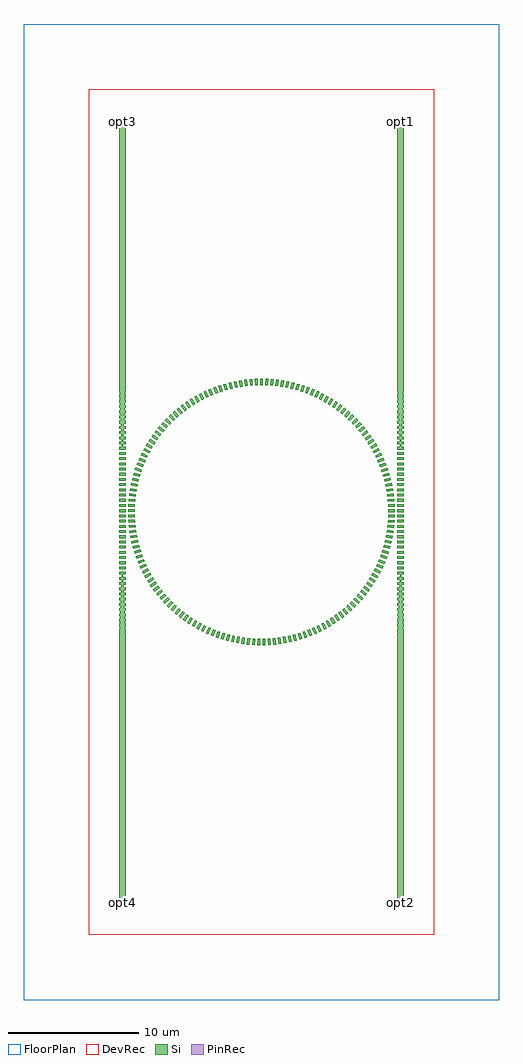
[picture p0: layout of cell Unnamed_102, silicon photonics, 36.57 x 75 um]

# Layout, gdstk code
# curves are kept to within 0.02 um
import gdstk
lib = gdstk.Library(unit=1e-6, precision=1e-09)
def R(c, l, rs):  # rectangles x0, y0, x1, y1
    for r in rs: c.add(gdstk.rectangle(r[:2], r[2:], *l))
def A(c, l, x, y, w, h, nx, ny, dx, dy):  # array of equal rectangles
    R(c, l, [(x+i*dx, y+j*dy, x+i*dx+w, y+j*dy+h) for i in range(nx) for j in range(ny)])
def P(c, l, *ps):  # polygons
    for p in ps: c.add(gdstk.Polygon(p, *l))
Si = (1, 0)
PinRec = (1, 10)
DevRec = (68, 0)
FloorPlan = (99, 0)

unnamed_102 = lib.new_cell('Unnamed_102')
A(unnamed_102, Si, -10.936, -4.4, 0.5, 0.2, 1, 23, 0, 0.4)
A(unnamed_102, Si, 10.436, -4.4, 0.5, 0.2, 1, 23, 0, 0.4)
P(unnamed_102, Si, [(-0.095,9.744),(-0.1,10.244),(0.105,10.244),(0.1,9.744)],
  [(9.745,0),(9.743,0.195),(10.243,0.205),(10.245,0)],
  [(9.737,0.39),(9.727,0.585),(10.226,0.615),(10.237,0.41)],
  [(9.714,0.779),(9.696,0.973),(10.194,1.023),(10.212,0.819)],
  [(9.675,1.167),(9.65,1.36),(10.145,1.43),(10.171,1.227)],
  [(9.62,1.553),(9.587,1.745),(10.079,1.835),(10.114,1.633)],
  [(9.551,1.937),(9.51,2.127),(9.998,2.237),(10.041,2.036)],
  [(9.465,2.317),(9.417,2.506),(9.9,2.635),(9.951,2.436)],
  [(9.365,2.694),(9.309,2.881),(9.787,3.029),(9.846,2.832)],
  [(9.25,3.067),(9.187,3.251),(9.658,3.418),(9.724,3.224)],
  [(9.12,3.434),(9.049,3.616),(9.514,3.801),(9.588,3.61)],
  [(8.975,3.796),(8.897,3.975),(9.354,4.179),(9.436,3.991)],
  [(8.816,4.152),(8.731,4.328),(9.179,4.55),(9.268,4.365)],
  [(8.643,4.502),(8.551,4.674),(8.99,4.913),(9.086,4.733)],
  [(8.456,4.844),(8.357,5.012),(8.786,5.269),(8.89,5.092)],
  [(8.255,5.178),(8.15,5.342),(8.568,5.616),(8.679,5.444)],
  [(8.042,5.504),(7.93,5.664),(8.337,5.955),(8.454,5.787)],
  [(7.815,5.821),(7.697,5.977),(8.092,6.283),(8.216,6.12)],
  [(7.576,6.129),(7.452,6.28),(7.834,6.602),(7.965,6.444)],
  [(7.325,6.428),(7.195,6.573),(7.564,6.91),(7.7,6.757)],
  [(7.062,6.715),(6.926,6.855),(7.281,7.207),(7.424,7.06)],
  [(6.787,6.993),(6.646,7.127),(6.987,7.493),(7.136,7.351)],
  [(6.502,7.259),(6.356,7.387),(6.682,7.766),(6.836,7.631)],
  [(6.207,7.513),(6.055,7.636),(6.366,8.027),(6.525,7.898)],
  [(5.901,7.755),(5.745,7.872),(6.039,8.275),(6.204,8.153)],
  [(5.586,7.985),(5.425,8.095),(5.704,8.51),(5.873,8.395)],
  [(5.262,8.202),(5.097,8.306),(5.359,8.732),(5.532,8.623)],
  [(4.93,8.406),(4.761,8.503),(5.005,8.939),(5.183,8.837)],
  [(4.59,8.596),(4.417,8.687),(4.643,9.132),(4.825,9.038)],
  [(4.242,8.773),(4.066,8.856),(4.274,9.311),(4.46,9.223)],
  [(3.888,8.936),(3.708,9.012),(3.898,9.474),(4.087,9.394)],
  [(3.527,9.084),(3.345,9.153),(3.516,9.623),(3.708,9.55)],
  [(3.161,9.218),(2.976,9.279),(3.128,9.756),(3.323,9.691)],
  [(2.79,9.337),(2.602,9.391),(2.736,9.873),(2.933,9.816)],
  [(2.414,9.441),(2.224,9.488),(2.339,9.974),(2.538,9.926)],
  [(2.034,9.53),(1.843,9.569),(1.938,10.06),(2.139,10.019)],
  [(1.651,9.604),(1.459,9.635),(1.534,10.129),(1.736,10.097)],
  [(1.266,9.662),(1.072,9.686),(1.127,10.183),(1.331,10.158)],
  [(0.878,9.705),(0.684,9.721),(0.719,10.22),(0.923,10.203)],
  [(0.489,9.733),(0.294,9.74),(0.31,10.24),(0.514,10.232)],
  [(10.436,4.8),(10.436,5),(10.647,5),(10.638,5.2),(10.436,5.2),(10.436,5.4),(10.63,5.4),(10.621,5.6),(10.436,5.6),(10.436,5.8),(10.612,5.8),(10.603,6),(10.436,6),(10.436,6.2),(10.594,6.2),(10.586,6.4),(10.436,6.4),(10.436,6.6),(10.577,6.6),(10.568,6.8),(10.436,6.8),(10.436,7),(10.559,7),(10.55,7.2),(10.436,7.2),(10.436,7.4),(10.542,7.4),(10.533,7.6),(10.436,7.6),(10.436,7.8),(10.524,7.8),(10.515,8),(10.436,8),(10.436,8.2),(10.506,8.2),(10.498,8.4),(10.436,8.4),(10.436,8.6),(10.489,8.6),(10.48,8.8),(10.436,8.8),(10.436,9),(10.471,9),(10.462,9.2),(10.436,9.2),(10.436,30),(10.936,30),(10.936,9.2),(10.91,9.2),(10.901,9),(10.936,9),(10.936,8.8),(10.892,8.8),(10.883,8.6),(10.936,8.6),(10.936,8.4),(10.874,8.4),(10.866,8.2),(10.936,8.2),(10.936,8),(10.857,8),(10.848,7.8),(10.936,7.8),(10.936,7.6),(10.839,7.6),(10.83,7.4),(10.936,7.4),(10.936,7.2),(10.822,7.2),(10.813,7),(10.936,7),(10.936,6.8),(10.804,6.8),(10.795,6.6),(10.936,6.6),(10.936,6.4),(10.786,6.4),(10.778,6.2),(10.936,6.2),(10.936,6),(10.769,6),(10.76,5.8),(10.936,5.8),(10.936,5.6),(10.751,5.6),(10.742,5.4),(10.936,5.4),(10.936,5.2),(10.734,5.2),(10.725,5),(10.936,5),(10.936,4.8)],
  [(-8.253,5.182),(-8.677,5.447),(-8.566,5.62),(-8.148,5.346)],
  [(-9.464,2.321),(-9.95,2.44),(-9.899,2.639),(-9.416,2.51)],
  [(-8.039,5.508),(-8.452,5.79),(-8.334,5.958),(-7.928,5.667)],
  [(-7.813,5.825),(-8.213,6.124),(-8.089,6.287),(-7.694,5.98)],
  [(-9.737,0.394),(-10.237,0.414),(-10.226,0.619),(-9.727,0.589)],
  [(-7.573,6.133),(-7.962,6.447),(-7.831,6.605),(-7.449,6.283)],
  [(-9.674,1.171),(-10.171,1.231),(-10.144,1.434),(-9.649,1.364)],
  [(-7.322,6.431),(-7.698,6.761),(-7.561,6.913),(-7.192,6.576)],
  [(-9.364,2.698),(-9.844,2.836),(-9.786,3.033),(-9.308,2.885)],
  [(-7.059,6.718),(-7.421,7.063),(-7.278,7.21),(-6.923,6.858)],
  [(-6.784,6.995),(-7.132,7.354),(-6.984,7.496),(-6.643,7.13)],
  [(-6.499,7.261),(-6.833,7.634),(-6.678,7.769),(-6.352,7.39)],
  [(-6.203,7.515),(-6.522,7.901),(-6.362,8.03),(-6.052,7.638)],
  [(-9.249,3.07),(-9.723,3.228),(-9.657,3.422),(-9.185,3.255)],
  [(-5.898,7.758),(-6.2,8.156),(-6.036,8.278),(-5.741,7.874)],
  [(-5.583,7.987),(-5.869,8.397),(-5.7,8.513),(-5.422,8.097)],
  [(-5.259,8.204),(-5.529,8.625),(-5.355,8.734),(-5.094,8.308)],
  [(-9.62,1.557),(-10.113,1.637),(-10.079,1.839),(-9.587,1.749)],
  [(-4.926,8.408),(-5.179,8.839),(-5.001,8.941),(-4.757,8.505)],
  [(-9.118,3.438),(-9.586,3.614),(-9.512,3.805),(-9.048,3.62)],
  [(-4.586,8.598),(-4.821,9.04),(-4.639,9.134),(-4.413,8.688)],
  [(-4.238,8.775),(-4.456,9.225),(-4.27,9.312),(-4.062,8.858)],
  [(-8.974,3.8),(-9.434,3.995),(-9.352,4.183),(-8.896,3.979)],
  [(-3.884,8.937),(-4.083,9.396),(-3.894,9.476),(-3.704,9.013)],
  [(-3.523,9.086),(-3.704,9.552),(-3.512,9.624),(-3.341,9.154)],
  [(-3.157,9.219),(-3.319,9.692),(-3.124,9.757),(-2.972,9.281)],
  [(-9.713,0.783),(-10.212,0.823),(-10.193,1.027),(-9.696,0.977)],
  [(-2.786,9.338),(-2.929,9.817),(-2.732,9.874),(-2.598,9.392)],
  [(-8.814,4.156),(-9.267,4.369),(-9.177,4.554),(-8.729,4.331)],
  [(-2.41,9.442),(-2.533,9.927),(-2.334,9.975),(-2.22,9.489)],
  [(-2.03,9.531),(-2.134,10.02),(-1.933,10.061),(-1.839,9.57)],
  [(-9.55,1.941),(-10.04,2.04),(-9.997,2.241),(-9.509,2.131)],
  [(-1.647,9.605),(-1.732,10.098),(-1.529,10.13),(-1.455,9.636)],
  [(-1.262,9.663),(-1.326,10.159),(-1.123,10.183),(-1.068,9.686)],
  [(-0.874,9.706),(-0.919,10.204),(-0.715,10.22),(-0.68,9.721)],
  [(-8.641,4.505),(-9.084,4.736),(-8.988,4.917),(-8.549,4.677)],
  [(-0.485,9.733),(-0.51,10.232),(-0.305,10.24),(-0.29,9.741)],
  [(-8.454,4.847),(-8.888,5.096),(-8.784,5.273),(-8.355,5.015)],
  [(-10.936,4.8),(-10.936,5),(-10.725,5),(-10.734,5.2),(-10.936,5.2),(-10.936,5.4),(-10.742,5.4),(-10.751,5.6),(-10.936,5.6),(-10.936,5.8),(-10.76,5.8),(-10.769,6),(-10.936,6),(-10.936,6.2),(-10.778,6.2),(-10.786,6.4),(-10.936,6.4),(-10.936,6.6),(-10.795,6.6),(-10.804,6.8),(-10.936,6.8),(-10.936,7),(-10.813,7),(-10.822,7.2),(-10.936,7.2),(-10.936,7.4),(-10.83,7.4),(-10.839,7.6),(-10.936,7.6),(-10.936,7.8),(-10.848,7.8),(-10.857,8),(-10.936,8),(-10.936,8.2),(-10.866,8.2),(-10.874,8.4),(-10.936,8.4),(-10.936,8.6),(-10.883,8.6),(-10.892,8.8),(-10.936,8.8),(-10.936,9),(-10.901,9),(-10.91,9.2),(-10.936,9.2),(-10.936,30),(-10.436,30),(-10.436,9.2),(-10.462,9.2),(-10.471,9),(-10.436,9),(-10.436,8.8),(-10.48,8.8),(-10.489,8.6),(-10.436,8.6),(-10.436,8.4),(-10.498,8.4),(-10.506,8.2),(-10.436,8.2),(-10.436,8),(-10.515,8),(-10.524,7.8),(-10.436,7.8),(-10.436,7.6),(-10.533,7.6),(-10.542,7.4),(-10.436,7.4),(-10.436,7.2),(-10.55,7.2),(-10.559,7),(-10.436,7),(-10.436,6.8),(-10.568,6.8),(-10.577,6.6),(-10.436,6.6),(-10.436,6.4),(-10.586,6.4),(-10.594,6.2),(-10.436,6.2),(-10.436,6),(-10.603,6),(-10.612,5.8),(-10.436,5.8),(-10.436,5.6),(-10.621,5.6),(-10.63,5.4),(-10.436,5.4),(-10.436,5.2),(-10.638,5.2),(-10.647,5),(-10.436,5),(-10.436,4.8)],
  [(-10.245,0.004),(-10.243,0.209),(-9.743,0.199),(-9.745,0.004)],
  [(-1.335,-10.158),(-1.538,-10.129),(-1.463,-9.635),(-1.27,-9.662)],
  [(-1.74,-10.096),(-1.942,-10.059),(-1.847,-9.568),(-1.655,-9.603)],
  [(-2.143,-10.018),(-2.343,-9.973),(-2.228,-9.487),(-2.038,-9.529)],
  [(-2.542,-9.925),(-2.74,-9.872),(-2.606,-9.39),(-2.418,-9.44)],
  [(-2.937,-9.815),(-3.133,-9.754),(-2.98,-9.278),(-2.793,-9.336)],
  [(-3.327,-9.69),(-3.52,-9.621),(-3.348,-9.152),(-3.165,-9.217)],
  [(-3.712,-9.549),(-3.902,-9.473),(-3.712,-9.01),(-3.531,-9.083)],
  [(-4.091,-9.393),(-4.278,-9.309),(-4.069,-8.855),(-3.891,-8.934)],
  [(-4.464,-9.221),(-4.647,-9.13),(-4.42,-8.685),(-4.246,-8.771)],
  [(-4.829,-9.036),(-5.009,-8.937),(-4.764,-8.501),(-4.593,-8.595)],
  [(-5.186,-8.835),(-5.362,-8.73),(-5.1,-8.304),(-4.933,-8.404)],
  [(-5.536,-8.621),(-5.707,-8.508),(-5.429,-8.093),(-5.266,-8.2)],
  [(-5.876,-8.392),(-6.043,-8.273),(-5.748,-7.869),(-5.589,-7.983)],
  [(-6.207,-8.15),(-6.369,-8.025),(-6.058,-7.633),(-5.904,-7.753)],
  [(-6.528,-7.896),(-6.685,-7.763),(-6.359,-7.385),(-6.21,-7.51)],
  [(-6.839,-7.628),(-6.99,-7.49),(-6.649,-7.124),(-6.505,-7.256)],
  [(-7.139,-7.348),(-7.284,-7.204),(-6.929,-6.853),(-6.79,-6.99)],
  [(-7.427,-7.057),(-7.567,-6.907),(-7.197,-6.57),(-7.064,-6.713)],
  [(-7.703,-6.754),(-7.837,-6.599),(-7.454,-6.277),(-7.327,-6.425)],
  [(-7.967,-6.441),(-8.094,-6.28),(-7.699,-5.973),(-7.578,-6.126)],
  [(-8.219,-6.117),(-8.339,-5.951),(-7.932,-5.661),(-7.817,-5.818)],
  [(-8.457,-5.783),(-8.571,-5.613),(-8.152,-5.339),(-8.044,-5.501)],
  [(-8.681,-5.44),(-8.788,-5.265),(-8.359,-5.008),(-8.258,-5.175)],
  [(-8.892,-5.089),(-8.992,-4.91),(-8.553,-4.67),(-8.458,-4.84)],
  [(-10.936,-30),(-10.936,-9),(-10.91,-9),(-10.901,-8.8),(-10.936,-8.8),(-10.936,-8.6),(-10.892,-8.6),(-10.883,-8.4),(-10.936,-8.4),(-10.936,-8.2),(-10.874,-8.2),(-10.866,-8),(-10.936,-8),(-10.936,-7.8),(-10.857,-7.8),(-10.848,-7.6),(-10.936,-7.6),(-10.936,-7.4),(-10.839,-7.4),(-10.83,-7.2),(-10.936,-7.2),(-10.936,-7),(-10.822,-7),(-10.813,-6.8),(-10.936,-6.8),(-10.936,-6.6),(-10.804,-6.6),(-10.795,-6.4),(-10.936,-6.4),(-10.936,-6.2),(-10.786,-6.2),(-10.778,-6),(-10.936,-6),(-10.936,-5.8),(-10.769,-5.8),(-10.76,-5.6),(-10.936,-5.6),(-10.936,-5.4),(-10.751,-5.4),(-10.742,-5.2),(-10.936,-5.2),(-10.936,-5),(-10.734,-5),(-10.725,-4.8),(-10.936,-4.8),(-10.936,-4.6),(-10.436,-4.6),(-10.436,-4.8),(-10.647,-4.8),(-10.638,-5),(-10.436,-5),(-10.436,-5.2),(-10.63,-5.2),(-10.621,-5.4),(-10.436,-5.4),(-10.436,-5.6),(-10.612,-5.6),(-10.603,-5.8),(-10.436,-5.8),(-10.436,-6),(-10.594,-6),(-10.586,-6.2),(-10.436,-6.2),(-10.436,-6.4),(-10.577,-6.4),(-10.568,-6.6),(-10.436,-6.6),(-10.436,-6.8),(-10.559,-6.8),(-10.55,-7),(-10.436,-7),(-10.436,-7.2),(-10.542,-7.2),(-10.533,-7.4),(-10.436,-7.4),(-10.436,-7.6),(-10.524,-7.6),(-10.515,-7.8),(-10.436,-7.8),(-10.436,-8),(-10.506,-8),(-10.498,-8.2),(-10.436,-8.2),(-10.436,-8.4),(-10.489,-8.4),(-10.48,-8.6),(-10.436,-8.6),(-10.436,-8.8),(-10.471,-8.8),(-10.462,-9),(-10.436,-9),(-10.436,-30)],
  [(-9.088,-4.729),(-9.181,-4.546),(-8.733,-4.324),(-8.645,-4.498)],
  [(-9.27,-4.361),(-9.356,-4.175),(-8.899,-3.971),(-8.818,-4.149)],
  [(-9.437,-3.987),(-9.515,-3.797),(-9.051,-3.612),(-8.977,-3.792)],
  [(-9.589,-3.606),(-9.659,-3.414),(-9.188,-3.247),(-9.121,-3.43)],
  [(-9.726,-3.22),(-9.788,-3.025),(-9.311,-2.877),(-9.251,-3.063)],
  [(-9.847,-2.828),(-9.901,-2.631),(-9.418,-2.502),(-9.366,-2.69)],
  [(-9.952,-2.432),(-9.999,-2.232),(-9.511,-2.123),(-9.466,-2.313)],
  [(-10.041,-2.032),(-10.08,-1.831),(-9.588,-1.741),(-9.551,-1.933)],
  [(-10.115,-1.629),(-10.145,-1.426),(-9.65,-1.356),(-9.621,-1.549)],
  [(-10.172,-1.223),(-10.194,-1.019),(-9.697,-0.969),(-9.675,-1.163)],
  [(-10.212,-0.815),(-10.227,-0.61),(-9.728,-0.58),(-9.714,-0.775)],
  [(-10.237,-0.406),(-10.243,-0.201),(-9.743,-0.191),(-9.737,-0.386)],
  [(-0.109,-10.244),(-0.314,-10.24),(-0.299,-9.74),(-0.104,-9.744)],
  [(-0.519,-10.232),(-0.723,-10.219),(-0.688,-9.721),(-0.493,-9.732)],
  [(-0.928,-10.203),(-1.131,-10.182),(-1.076,-9.685),(-0.882,-9.705)],
  [(1.322,-10.159),(1.258,-9.663),(1.451,-9.636),(1.525,-10.131)],
  [(10.436,-30),(10.436,-9),(10.462,-9),(10.471,-8.8),(10.436,-8.8),(10.436,-8.6),(10.48,-8.6),(10.489,-8.4),(10.436,-8.4),(10.436,-8.2),(10.498,-8.2),(10.506,-8),(10.436,-8),(10.436,-7.8),(10.515,-7.8),(10.524,-7.6),(10.436,-7.6),(10.436,-7.4),(10.533,-7.4),(10.542,-7.2),(10.436,-7.2),(10.436,-7),(10.55,-7),(10.559,-6.8),(10.436,-6.8),(10.436,-6.6),(10.568,-6.6),(10.577,-6.4),(10.436,-6.4),(10.436,-6.2),(10.586,-6.2),(10.594,-6),(10.436,-6),(10.436,-5.8),(10.603,-5.8),(10.612,-5.6),(10.436,-5.6),(10.436,-5.4),(10.621,-5.4),(10.63,-5.2),(10.436,-5.2),(10.436,-5),(10.638,-5),(10.647,-4.8),(10.436,-4.8),(10.436,-4.6),(10.936,-4.6),(10.936,-4.8),(10.725,-4.8),(10.734,-5),(10.936,-5),(10.936,-5.2),(10.742,-5.2),(10.751,-5.4),(10.936,-5.4),(10.936,-5.6),(10.76,-5.6),(10.769,-5.8),(10.936,-5.8),(10.936,-6),(10.778,-6),(10.786,-6.2),(10.936,-6.2),(10.936,-6.4),(10.795,-6.4),(10.804,-6.6),(10.936,-6.6),(10.936,-6.8),(10.813,-6.8),(10.822,-7),(10.936,-7),(10.936,-7.2),(10.83,-7.2),(10.839,-7.4),(10.936,-7.4),(10.936,-7.6),(10.848,-7.6),(10.857,-7.8),(10.936,-7.8),(10.936,-8),(10.866,-8),(10.874,-8.2),(10.936,-8.2),(10.936,-8.4),(10.883,-8.4),(10.892,-8.6),(10.936,-8.6),(10.936,-8.8),(10.901,-8.8),(10.91,-9),(10.936,-9),(10.936,-30)],
  [(9.082,-4.74),(8.639,-4.509),(8.728,-4.335),(9.175,-4.557)],
  [(5.525,-8.628),(5.255,-8.206),(5.418,-8.1),(5.696,-8.515)],
  [(2.924,-9.819),(2.782,-9.339),(2.968,-9.282),(3.12,-9.758)],
  [(9.265,-4.373),(8.813,-4.16),(8.894,-3.982),(9.35,-4.187)],
  [(5.866,-8.4),(5.579,-7.99),(5.738,-7.876),(6.032,-8.281)],
  [(0.506,-10.232),(0.481,-9.733),(0.676,-9.721),(0.71,-10.22)],
  [(9.432,-3.999),(8.972,-3.804),(9.046,-3.623),(9.51,-3.809)],
  [(6.197,-8.158),(5.895,-7.76),(6.049,-7.641),(6.359,-8.033)],
  [(3.315,-9.694),(3.153,-9.221),(3.337,-9.156),(3.508,-9.626)],
  [(9.585,-3.618),(9.117,-3.442),(9.184,-3.259),(9.655,-3.426)],
  [(6.518,-7.904),(6.2,-7.518),(6.349,-7.392),(6.675,-7.772)],
  [(1.728,-10.098),(1.643,-9.605),(1.835,-9.571),(1.929,-10.062)],
  [(9.722,-3.232),(9.247,-3.074),(9.307,-2.889),(9.784,-3.037)],
  [(6.829,-7.637),(6.496,-7.264),(6.64,-7.133),(6.981,-7.499)],
  [(3.7,-9.553),(3.519,-9.087),(3.701,-9.015),(3.89,-9.478)],
  [(9.843,-2.841),(9.363,-2.702),(9.415,-2.514),(9.898,-2.643)],
  [(7.129,-7.357),(6.781,-6.998),(6.92,-6.861),(7.275,-7.213)],
  [(0.915,-10.204),(0.87,-9.706),(1.064,-9.687),(1.119,-10.184)],
  [(9.949,-2.444),(9.463,-2.325),(9.508,-2.135),(9.996,-2.245)],
  [(7.418,-7.066),(7.056,-6.721),(7.189,-6.579),(7.558,-6.916)],
  [(4.079,-9.398),(3.88,-8.939),(4.058,-8.86),(4.266,-9.314)],
  [(10.039,-2.045),(9.549,-1.945),(9.586,-1.753),(10.078,-1.843)],
  [(7.695,-6.764),(7.319,-6.434),(7.446,-6.286),(7.828,-6.609)],
  [(2.13,-10.021),(2.026,-9.532),(2.216,-9.49),(2.33,-9.976)],
  [(10.113,-1.641),(9.619,-1.561),(9.648,-1.368),(10.143,-1.439)],
  [(7.959,-6.451),(7.571,-6.136),(7.692,-5.983),(8.087,-6.29)],
  [(4.452,-9.227),(4.235,-8.777),(4.409,-8.69),(4.636,-9.136)],
  [(10.17,-1.235),(9.674,-1.175),(9.695,-0.981),(10.193,-1.032)],
  [(8.211,-6.127),(7.81,-5.828),(7.925,-5.671),(8.332,-5.962)],
  [(0.096,-10.244),(0.091,-9.745),(0.286,-9.741),(0.301,-10.241)],
  [(10.211,-0.828),(9.713,-0.787),(9.727,-0.593),(10.226,-0.623)],
  [(8.449,-5.794),(8.037,-5.511),(8.146,-5.349),(8.564,-5.624)],
  [(10.236,-0.418),(9.737,-0.398),(9.743,-0.203),(10.243,-0.214)],
  [(4.818,-9.042),(4.582,-8.6),(4.754,-8.507),(4.997,-8.943)],
  [(8.674,-5.451),(8.251,-5.185),(8.353,-5.019),(8.782,-5.276)],
  [(2.529,-9.928),(2.406,-9.443),(2.594,-9.393),(2.727,-9.875)],
  [(8.885,-5.1),(8.452,-4.851),(8.547,-4.681),(8.986,-4.921)],
  [(5.175,-8.842),(4.923,-8.41),(5.09,-8.31),(5.351,-8.736)])
R(unnamed_102, PinRec, [(-10.936,-30,-10.436,-29.9), (10.436,-30,10.936,-29.9), (-10.936,29.9,-10.436,30), (10.436,29.9,10.936,30)])
R(unnamed_102, DevRec, [(-13.286,-32.5,13.286,32.5)])
R(unnamed_102, FloorPlan, [(-18.286,-37.5,18.286,37.5)])
unnamed_102.add(gdstk.Label('opt1', (10.686,30), layer=10, texttype=0))
unnamed_102.add(gdstk.Label('opt2', (10.686,-30), layer=10, texttype=0))
unnamed_102.add(gdstk.Label('opt3', (-10.686,30), layer=10, texttype=0))
unnamed_102.add(gdstk.Label('opt4', (-10.686,-30), layer=10, texttype=0))

lib.write_gds('Unnamed_102.gds')
